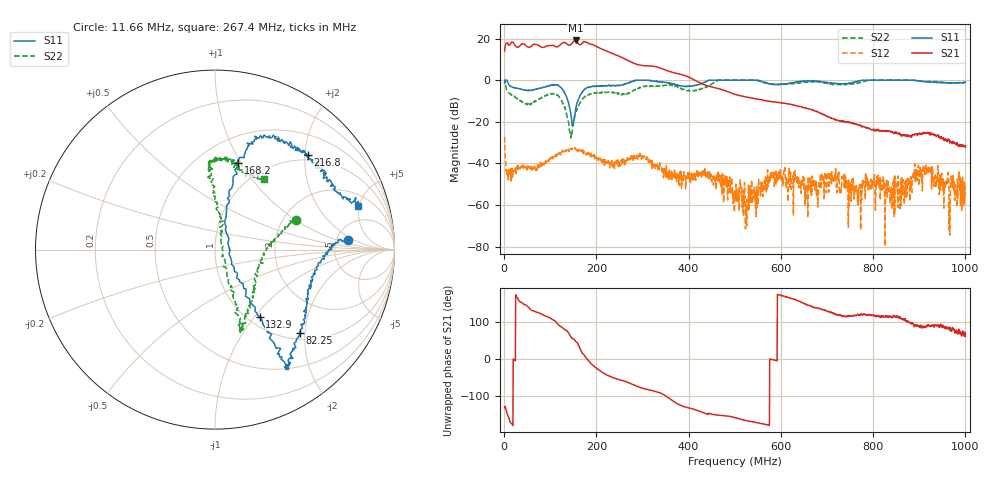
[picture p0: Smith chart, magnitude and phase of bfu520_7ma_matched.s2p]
! created by kelvin at Sun Aug 25 22:42:05 EDT 2019
! generated using vna/J Version 3.3.2
# Hz S DB R 50.0
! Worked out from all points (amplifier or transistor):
!   1501 points, 1 MHz to 1 GHz, reference 50 ohm
!   highest |S21| = 19.1 dB at 154.8 MHz (marker M1)
!   |S21| within 3 dB of that: 115.8 MHz to 201.6 MHz (85.74 MHz wide, 54 % of centre)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
!   unconditionally stable (mu >= 1): 6.811 MHz to 279.6 MHz; 331.1 MHz to 442 MHz; 551.8 MHz to 774.9 MHz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
!   at 167.5 MHz: K = 2.62, MAG = 18.8 dB, |S12| = -34.3 dB
!   at 500.5 MHz: K = -0.99, MSG = 24.4 dB, |S12| = -55.6 dB
!   at 1 GHz: K = 419.97, MAG = -17.7 dB, |S12| = -54.6 dB
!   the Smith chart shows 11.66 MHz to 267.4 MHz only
!   S11 on the Smith chart (normalised r, x): 11.66 MHz: 6.36, +1.57; 82.25 MHz: 1.14, -1.89; 132.9 MHz: 1.13, -1.06; 168.2 MHz: 0.76, +0.97; 216.8 MHz: 0.89, +2.06; 267.4 MHz: 2.99, +4.88
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1000000  -1.39 -160.3  14.00 -131.6  -27.17 -153.4  -1.48 171.7
1.165598e7  -2.59 4.3  16.85 -166.5  -44.17 -38.2  -6.42 20.1
1.431998e7  -3.05 4.6  17.66 -173.1  -48.39 -6.0  -6.81 19.5
1.964797e7  -3.47 3.0  18.15 -360.7  -42.98 19.3  -7.45 17.7
2.430996e7  -3.76 1.7  16.52 -365.2  -42.24 13.1  -8.34 14.7
2.963796e7  -4.00 -0.4  15.76 162.6  -43.73 36.8  -8.93 11.9
6.56019e7  -4.50 -30.9  17.26 129.3  -42.48 44.0  -10.62 -43.8
8.225188e7  -3.58 -44.3  15.77 120.8  -40.62 24.4  -8.28 -62.1
1.055618e8  -2.22 -58.2  16.76 105.9  -37.75 7.3  -6.48 -72.8
1.328678e8  -6.94 -56.3  17.98 78.2  -33.59 -25.8  -14.28 -67.6
1.548458e8  -14.40 71.2  19.06 47.8  -32.76 -59.6  -15.57 73.1
1.674998e8  -6.41 75.1  17.32 19.7  -34.27 -68.2  -9.73 91.5
1.681657e8  -6.05 75.1  17.45 18.1  -33.72 -69.0  -9.35 92.4
1.768237e8  -4.08 70.1  18.34 4.4  -35.40 -69.6  -7.61 93.1
1.921417e8  -2.96 62.0  17.10 -17.0  -36.95 -86.3  -6.18 93.1
2.167837e8  -2.65 45.5  14.43 -39.3  -38.69 -95.1  -5.96 85.8
2.673996e8  -1.56 17.1  9.54 -63.2  -37.21 -125.7  -6.35 55.2
3.339995e8  -0.84 21.0  6.14 -90.0  -41.05 -155.1  -2.97 50.0
5.004992e8  0.00 7.3  -6.80 -159.0  -55.58 -174.5  0.00 27.6
6.66999e8  -0.34 -9.3  -14.24 142.3  -46.05 -101.7  -0.90 9.4
8.334988e8  0.00 -13.6  -24.70 115.2  -52.38 -169.0  0.00 0.9
9.999985e8  -0.91 -21.2  -31.49 61.2  -54.57 -132.6  -1.09 -6.2
